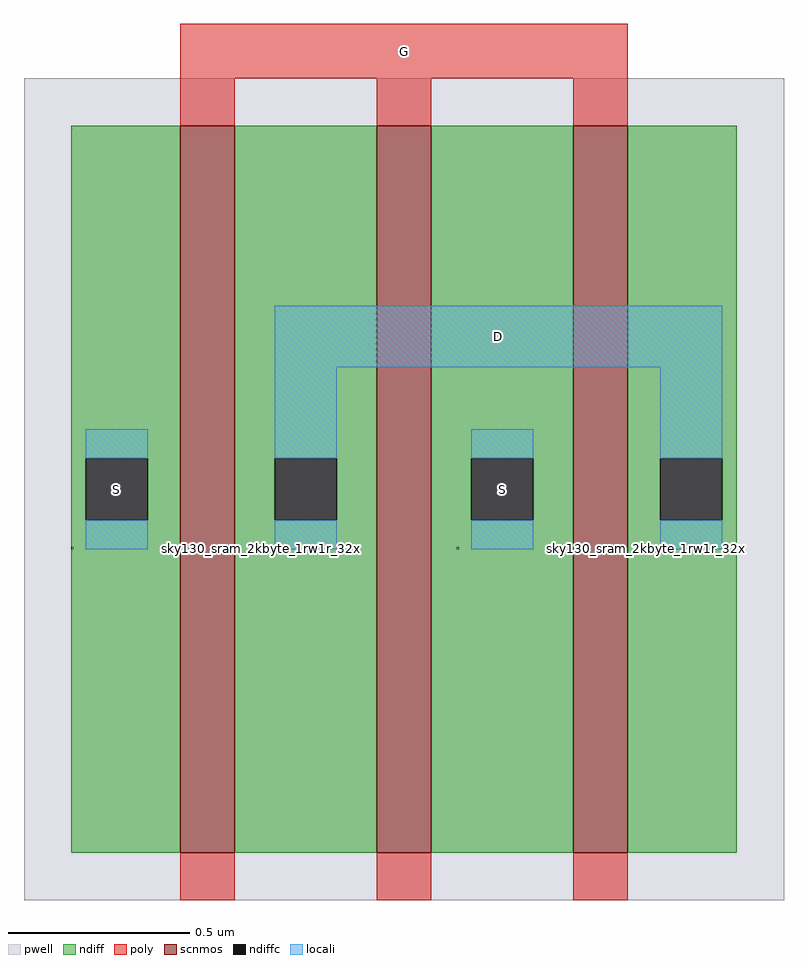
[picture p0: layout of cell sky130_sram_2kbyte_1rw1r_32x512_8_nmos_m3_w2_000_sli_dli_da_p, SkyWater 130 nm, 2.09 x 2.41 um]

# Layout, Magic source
magic
tech sky130A
magscale 1 2
<< pwell >>
rect -26 -26 392 426
<< scnmos >>
rect 60 0 90 400
rect 168 0 198 400
rect 276 0 306 400
<< ndiff >>
rect 0 217 60 400
rect 0 183 8 217
rect 42 183 60 217
rect 0 0 60 183
rect 90 217 168 400
rect 90 183 112 217
rect 146 183 168 217
rect 90 0 168 183
rect 198 217 276 400
rect 198 183 220 217
rect 254 183 276 217
rect 198 0 276 183
rect 306 217 366 400
rect 306 183 324 217
rect 358 183 366 217
rect 306 0 366 183
<< ndiffc >>
rect 8 183 42 217
rect 112 183 146 217
rect 220 183 254 217
rect 324 183 358 217
<< poly >>
rect 60 426 306 456
rect 60 400 90 426
rect 168 400 198 426
rect 276 400 306 426
rect 60 -26 90 0
rect 168 -26 198 0
rect 276 -26 306 0
<< locali >>
rect 112 267 358 301
rect 8 217 42 233
rect 8 167 42 183
rect 112 217 146 267
rect 112 167 146 183
rect 220 217 254 233
rect 220 167 254 183
rect 324 217 358 267
rect 324 167 358 183
use sky130_sram_2kbyte_1rw1r_32x512_8_contact_11  sky130_sram_2kbyte_1rw1r_32x512_8_contact_11_0
transform 1 0 316 0 1 167
box 0 0 1 1
use sky130_sram_2kbyte_1rw1r_32x512_8_contact_11  sky130_sram_2kbyte_1rw1r_32x512_8_contact_11_1
transform 1 0 212 0 1 167
box 0 0 1 1
use sky130_sram_2kbyte_1rw1r_32x512_8_contact_11  sky130_sram_2kbyte_1rw1r_32x512_8_contact_11_2
transform 1 0 104 0 1 167
box 0 0 1 1
use sky130_sram_2kbyte_1rw1r_32x512_8_contact_11  sky130_sram_2kbyte_1rw1r_32x512_8_contact_11_3
transform 1 0 0 0 1 167
box 0 0 1 1
<< labels >>
rlabel locali s 25 200 25 200 4 S
port 1 nsew
rlabel locali s 237 200 237 200 4 S
port 1 nsew
rlabel locali s 235 284 235 284 4 D
port 2 nsew
rlabel poly s 183 441 183 441 4 G
port 3 nsew
<< properties >>
string FIXED_BBOX -25 -26 391 456
string GDS_FILE $PDKPATH/libs.ref/sky130_sram_macros/gds/sky130_sram_2kbyte_1rw1r_32x512_8.gds
string GDS_END 125780
string GDS_START 124472
<< end >>
